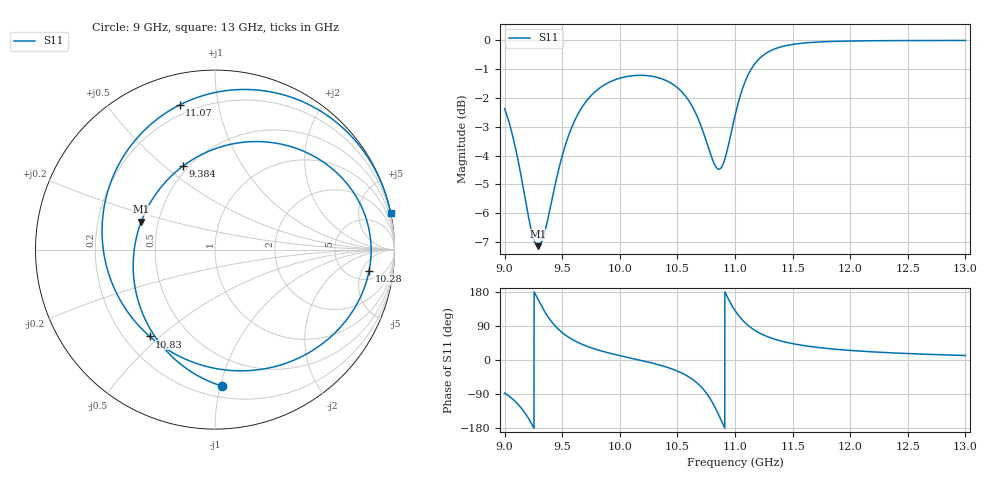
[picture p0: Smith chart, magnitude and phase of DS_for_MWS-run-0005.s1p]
! TOUCHSTONE file generated by CST DESIGN STUDIO
! Date and time: Tue Feb  4 14:37:02 2025
! Project name: C:\Work\MatlabApps\UnitCellOptimizationMatlab\CST\unitcell.cst
! Tree item: Tasks\Sweep1\SPara1\S-Parameters
! Header version: 2024
! Port assignment regex: !\s*Touchstone port\s*([0-9]+)\s*=\s*(CST MWS port|CST DES external port|CST DES block port)\s*(.+)\s* \(\"(.*)\"\)(\s*mode\s*([0-9]+))?.*
! Touchstone port assignment:
! Touchstone port 1 = CST DES external port 1 ("")
# GHz S MA R 50
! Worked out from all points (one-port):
!   4001 points, 9 GHz to 13 GHz, reference 50 ohm
!   lowest |S11| = -7.1 dB at 9.291 GHz (marker M1), VSWR 2.57, Z = 20 + j7.68 ohm
!   |S11| at or under -10 dB: nowhere
!   S11 on the Smith chart (normalised r, x): 9 GHz: 0.28, -1.01; 9.384 GHz: 0.47, +0.58; 10.28 GHz: 7, -7; 10.83 GHz: 0.30, -0.46; 11.07 GHz: 0.15, +0.77; 13 GHz: 0.01, +9.64
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9  0.7612 -87.2
9.09  0.6566 -108.8
9.179  0.5308 -140.8
9.236  0.4644 -169.0
9.291  0.4395 159.4
9.384  0.4989 110.8
9.5  0.6305 72.3
9.604  0.7226 51.4
9.715  0.787 36.2
10  0.8598 11.5
10.277  0.8666 -7.8
10.5  0.8279 -29.3
10.618  0.775 -48.3
10.717  0.7 -74.4
10.777  0.6442 -98.5
10.83  0.6052 -127.0
10.876  0.6 -156.3
10.916  0.6264 177.4
10.955  0.6743 153.7
11  0.7397 130.7
11.07  0.8297 103.7
11.147  0.8958 83.4
11.256  0.9458 64.9
11.365  0.9698 53.0
11.5  0.984 43.2
12  0.9975 25.3
12.5  0.9993 17.0
13  0.9997 11.8
